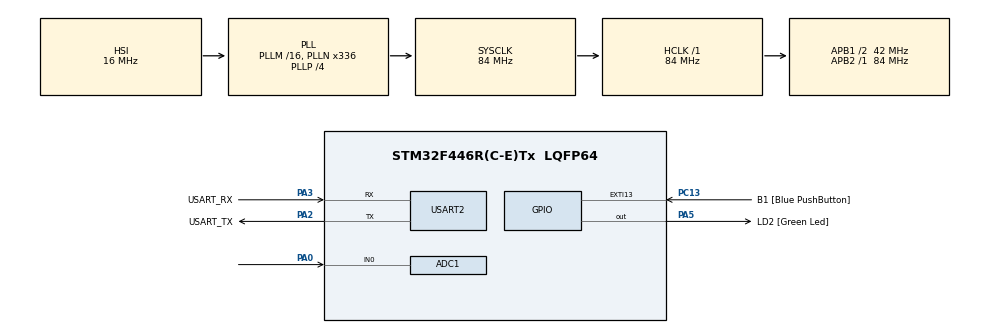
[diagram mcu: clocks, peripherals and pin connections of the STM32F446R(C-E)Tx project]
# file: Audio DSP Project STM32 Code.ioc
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ADC1.Channel-0\#ChannelRegularConversion=ADC_CHANNEL_0
ADC1.ContinuousConvMode=ENABLE
ADC1.DMAContinuousRequests=ENABLE
ADC1.ExternalTrigConv=ADC_EXTERNALTRIGCONV_T2_TRGO
ADC1.NbrOfConversionFlag=1
ADC1.Rank-0\#ChannelRegularConversion=1
ADC1.SamplingTime-0\#ChannelRegularConversion=ADC_SAMPLETIME_3CYCLES
ADC1.master=1
Dma.ADC1.0.Direction=DMA_PERIPH_TO_MEMORY
Dma.ADC1.0.FIFOMode=DMA_FIFOMODE_DISABLE
Dma.ADC1.0.Instance=DMA2_Stream0
Dma.ADC1.0.MemDataAlignment=DMA_MDATAALIGN_HALFWORD
Dma.ADC1.0.MemInc=DMA_MINC_ENABLE
Dma.ADC1.0.Mode=DMA_CIRCULAR
Dma.ADC1.0.PeriphDataAlignment=DMA_PDATAALIGN_HALFWORD
Dma.ADC1.0.PeriphInc=DMA_PINC_DISABLE
Dma.ADC1.0.Priority=DMA_PRIORITY_LOW
Dma.Request0=ADC1
Mcu.Family=STM32F4
Mcu.Name=STM32F446R(C-E)Tx
Mcu.Package=LQFP64
NVIC.DMA2_Stream0_IRQn=true\:0\:0\:false\:false\:true\:false\:true\:true
NVIC.PriorityGroup=NVIC_PRIORITYGROUP_0
PA0-WKUP.Signal=ADCx_IN0
PA13.GPIO_Label=TMS
PA13.Mode=Serial_Wire
PA13.Signal=SYS_JTMS-SWDIO
PA14.GPIO_Label=TCK
PA14.Mode=Serial_Wire
PA14.Signal=SYS_JTCK-SWCLK
PA2.GPIO_Label=USART_TX
PA2.Mode=Asynchronous
PA2.Signal=USART2_TX
PA3.GPIO_Label=USART_RX
PA3.Mode=Asynchronous
PA3.Signal=USART2_RX
PA5.GPIO_Label=LD2 [Green Led]
PA5.Signal=GPIO_Output
PB3.GPIO_Label=SWO
PB3.Signal=SYS_JTDO-SWO
PC13.GPIO_Label=B1 [Blue PushButton]
PC13.GPIO_ModeDefaultEXTI=GPIO_MODE_IT_FALLING
PC13.Signal=GPXTI13
PC14-OSC32_IN.Mode=LSE-External-Oscillator
PC14-OSC32_IN.Signal=RCC_OSC32_IN
PC15-OSC32_OUT.Mode=LSE-External-Oscillator
PC15-OSC32_OUT.Signal=RCC_OSC32_OUT
PH0-OSC_IN.Mode=HSE-External-Oscillator
PH0-OSC_IN.Signal=RCC_OSC_IN
PH1-OSC_OUT.Mode=HSE-External-Oscillator
PH1-OSC_OUT.Signal=RCC_OSC_OUT
ProjectManager.HeapSize=0x200
ProjectManager.StackSize=0x400
ProjectManager.TargetToolchain=EWARM V8.50
RCC.48MHZClocksFreq_Value=84000000
RCC.AHBFreq_Value=84000000
RCC.APB1CLKDivider=RCC_HCLK_DIV2
RCC.APB1Freq_Value=42000000
RCC.APB1TimFreq_Value=84000000
RCC.APB2Freq_Value=84000000
RCC.APB2TimFreq_Value=84000000
RCC.CortexFreq_Value=84000000
RCC.FLatency-AdvancedSettings=FLASH_LATENCY_2
RCC.HCLKFreq_Value=84000000
RCC.HSE_VALUE=8000000
RCC.HSI_VALUE=16000000
RCC.PLLN=336
RCC.PLLP=RCC_PLLP_DIV4
RCC.SYSCLKFreq_VALUE=84000000
RCC.SYSCLKSource=RCC_SYSCLKSOURCE_PLLCLK
RCC.USBFreq_Value=168000000
RCC.VCOOutputFreq_Value=336000000
SH.ADCx_IN0.0=ADC1_IN0,IN0
TIM2.Period=999
TIM2.Prescaler=89
TIM2.TIM_MasterOutputTrigger=TIM_TRGO_UPDATE
USART2.VirtualMode=VM_ASYNC
VP_TIM2_VS_ClockSourceINT.Mode=Internal
board=NUCLEO-F446RE

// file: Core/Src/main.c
/* USER CODE BEGIN Header */
/**
  ******************************************************************************
  * @file           : main.c
  * @brief          : Main program body
  ******************************************************************************
  * @attention
  *
  * Copyright (c) 2026 STMicroelectronics.
  * All rights reserved.
  *
  * This software is licensed under terms that can be found in the LICENSE file
  * in the root directory of this software component.
  * If no LICENSE file comes with this software, it is provided AS-IS.
  *
  ******************************************************************************
  */
/* USER CODE END Header */
#include "main.h"

/* USER CODE BEGIN Includes */
#include "arm_math.h"

/* USER CODE END Includes */

ADC_HandleTypeDef hadc1;
DMA_HandleTypeDef hdma_adc1;

TIM_HandleTypeDef htim2;

UART_HandleTypeDef huart2;

/* USER CODE BEGIN PV */
uint16_t buffer[1000];
volatile uint8_t flag = 0;
float32_t b_coeffs[] = {0.3478, 2.7820, 9.7370, 19.4740, 24.3426, 19.4740, 9.7370, 2.7820, 0.3478};
float32_t a_coeffs[] = {1.0000, 5.9081, 15.4841, 23.4718, 22.4784, 13.9116, 5.4288, 1.2204, 0.1209};
float32_t filteredBuffer[1000];
float32_t inputBuffer[1000];
float32_t stateBuffer[16];
arm_biquad_casd_df1_inst_f32 filterInstance;
/* USER CODE END PV */

void SystemClock_Config(void);
static void MX_GPIO_Init(void);
static void MX_DMA_Init(void);
static void MX_ADC1_Init(void);
static void MX_USART2_UART_Init(void);
static void MX_TIM2_Init(void);

/* USER CODE BEGIN 0 */
void HAL_ADC_ConvCpltCallback(ADC_HandleTypeDef* hadc)
{
    flag = 1;
}

/* USER CODE END 0 */

int main(void)
{

  /* USER CODE BEGIN 1 */
	SCB->CPACR |= ((3UL << 10*2)|(3UL << 11*2));

  /* USER CODE END 1 */

  /* MCU Configuration--------------------------------------------------------*/

  /* Reset of all peripherals, Initializes the Flash interface and the Systick. */
  HAL_Init();

  /* Configure the system clock */
  SystemClock_Config();

  /* Initialize all configured peripherals */
  MX_GPIO_Init();
  MX_DMA_Init();
  MX_ADC1_Init();
  MX_USART2_UART_Init();
  MX_TIM2_Init();
  /* USER CODE BEGIN 2 */
  arm_biquad_cascade_df1_init_f32(&filterInstance, 4, b_coeffs, stateBuffer);
  HAL_ADC_Start_DMA(&hadc1, (uint32_t*)buffer, 1000);
  HAL_TIM_Base_Start(&htim2);
  /* USER CODE END 2 */

  /* Infinite loop */
  /* USER CODE BEGIN WHILE */
  while (1)
  {
      if (flag == 1)
      {
          // Convert ADC samples to float
          for (int i = 0; i < 1000; i++)
          {
              inputBuffer[i] = (float32_t)buffer[i];
          }

          // Apply filter
          arm_biquad_cascade_df1_f32(&filterInstance, inputBuffer, filteredBuffer, 1000);

          // Transmit raw and filtered data
          HAL_UART_Transmit(&huart2, (uint8_t*)buffer, 2000, HAL_MAX_DELAY);
          HAL_UART_Transmit(&huart2, (uint8_t*)filteredBuffer, 4000, HAL_MAX_DELAY);

          flag = 0;
      }
    /* USER CODE END WHILE */
  }
}

void SystemClock_Config(void)
{
  RCC_OscInitTypeDef RCC_OscInitStruct = {0};
  RCC_ClkInitTypeDef RCC_ClkInitStruct = {0};

  /** Configure the main internal regulator output voltage
  */
  __HAL_RCC_PWR_CLK_ENABLE();
  __HAL_PWR_VOLTAGESCALING_CONFIG(PWR_REGULATOR_VOLTAGE_SCALE3);

  /** Initializes the RCC Oscillators according to the specified parameters
  * in the RCC_OscInitTypeDef structure.
  */
  RCC_OscInitStruct.OscillatorType = RCC_OSCILLATORTYPE_HSI;
  RCC_OscInitStruct.HSIState = RCC_HSI_ON;
  RCC_OscInitStruct.HSICalibrationValue = RCC_HSICALIBRATION_DEFAULT;
  RCC_OscInitStruct.PLL.PLLState = RCC_PLL_ON;
  RCC_OscInitStruct.PLL.PLLSource = RCC_PLLSOURCE_HSI;
  RCC_OscInitStruct.PLL.PLLM = 16;
  RCC_OscInitStruct.PLL.PLLN = 336;
  RCC_OscInitStruct.PLL.PLLP = RCC_PLLP_DIV4;
  RCC_OscInitStruct.PLL.PLLQ = 2;
  RCC_OscInitStruct.PLL.PLLR = 2;
  if (HAL_RCC_OscConfig(&RCC_OscInitStruct) != HAL_OK)
  {
    Error_Handler();
  }

  /** Initializes the CPU, AHB and APB buses clocks
  */
  RCC_ClkInitStruct.ClockType = RCC_CLOCKTYPE_HCLK|RCC_CLOCKTYPE_SYSCLK
                              |RCC_CLOCKTYPE_PCLK1|RCC_CLOCKTYPE_PCLK2;
  RCC_ClkInitStruct.SYSCLKSource = RCC_SYSCLKSOURCE_PLLCLK;
  RCC_ClkInitStruct.AHBCLKDivider = RCC_SYSCLK_DIV1;
  RCC_ClkInitStruct.APB1CLKDivider = RCC_HCLK_DIV2;
  RCC_ClkInitStruct.APB2CLKDivider = RCC_HCLK_DIV1;

  if (HAL_RCC_ClockConfig(&RCC_ClkInitStruct, FLASH_LATENCY_2) != HAL_OK)
  {
    Error_Handler();
  }
}

static void MX_ADC1_Init(void)
{

  ADC_ChannelConfTypeDef sConfig = {0};

  /** Configure the global features of the ADC (Clock, Resolution, Data Alignment and number of conversion)
  */
  hadc1.Instance = ADC1;
  hadc1.Init.ClockPrescaler = ADC_CLOCK_SYNC_PCLK_DIV4;
  hadc1.Init.Resolution = ADC_RESOLUTION_12B;
  hadc1.Init.ScanConvMode = DISABLE;
  hadc1.Init.ContinuousConvMode = ENABLE;
  hadc1.Init.DiscontinuousConvMode = DISABLE;
  hadc1.Init.ExternalTrigConvEdge = ADC_EXTERNALTRIGCONVEDGE_RISING;
  hadc1.Init.ExternalTrigConv = ADC_EXTERNALTRIGCONV_T2_TRGO;
  hadc1.Init.DataAlign = ADC_DATAALIGN_RIGHT;
  hadc1.Init.NbrOfConversion = 1;
  hadc1.Init.DMAContinuousRequests = ENABLE;
  hadc1.Init.EOCSelection = ADC_EOC_SINGLE_CONV;
  if (HAL_ADC_Init(&hadc1) != HAL_OK)
  {
    Error_Handler();
  }

  /** Configure for the selected ADC regular channel its corresponding rank in the sequencer and its sample time.
  */
  sConfig.Channel = ADC_CHANNEL_0;
  sConfig.Rank = 1;
  sConfig.SamplingTime = ADC_SAMPLETIME_3CYCLES;
  if (HAL_ADC_ConfigChannel(&hadc1, &sConfig) != HAL_OK)
  {
    Error_Handler();
  }

}

static void MX_TIM2_Init(void)
{

  TIM_ClockConfigTypeDef sClockSourceConfig = {0};
  TIM_MasterConfigTypeDef sMasterConfig = {0};

  htim2.Instance = TIM2;
  htim2.Init.Prescaler = 89;
  htim2.Init.CounterMode = TIM_COUNTERMODE_UP;
  htim2.Init.Period = 999;
  htim2.Init.ClockDivision = TIM_CLOCKDIVISION_DIV1;
  htim2.Init.AutoReloadPreload = TIM_AUTORELOAD_PRELOAD_DISABLE;
  if (HAL_TIM_Base_Init(&htim2) != HAL_OK)
  {
    Error_Handler();
  }
  sClockSourceConfig.ClockSource = TIM_CLOCKSOURCE_INTERNAL;
  if (HAL_TIM_ConfigClockSource(&htim2, &sClockSourceConfig) != HAL_OK)
  {
    Error_Handler();
  }
  sMasterConfig.MasterOutputTrigger = TIM_TRGO_UPDATE;
  sMasterConfig.MasterSlaveMode = TIM_MASTERSLAVEMODE_DISABLE;
  if (HAL_TIMEx_MasterConfigSynchronization(&htim2, &sMasterConfig) != HAL_OK)
  {
    Error_Handler();
  }

}

static void MX_USART2_UART_Init(void)
{

  huart2.Instance = USART2;
  huart2.Init.BaudRate = 115200;
  huart2.Init.WordLength = UART_WORDLENGTH_8B;
  huart2.Init.StopBits = UART_STOPBITS_1;
  huart2.Init.Parity = UART_PARITY_NONE;
  huart2.Init.Mode = UART_MODE_TX_RX;
  huart2.Init.HwFlowCtl = UART_HWCONTROL_NONE;
  huart2.Init.OverSampling = UART_OVERSAMPLING_16;
  if (HAL_UART_Init(&huart2) != HAL_OK)
  {
    Error_Handler();
  }

}

static void MX_DMA_Init(void)
{

  /* DMA controller clock enable */
  __HAL_RCC_DMA2_CLK_ENABLE();

  /* DMA interrupt init */
  /* DMA2_Stream0_IRQn interrupt configuration */
  HAL_NVIC_SetPriority(DMA2_Stream0_IRQn, 0, 0);
  HAL_NVIC_EnableIRQ(DMA2_Stream0_IRQn);

}

static void MX_GPIO_Init(void)
{
  GPIO_InitTypeDef GPIO_InitStruct = {0};

  /* GPIO Ports Clock Enable */
  __HAL_RCC_GPIOC_CLK_ENABLE();
  __HAL_RCC_GPIOH_CLK_ENABLE();
  __HAL_RCC_GPIOA_CLK_ENABLE();
  __HAL_RCC_GPIOB_CLK_ENABLE();

  /*Configure GPIO pin Output Level */
  HAL_GPIO_WritePin(LD2_GPIO_Port, LD2_Pin, GPIO_PIN_RESET);

  /*Configure GPIO pin : B1_Pin */
  GPIO_InitStruct.Pin = B1_Pin;
  GPIO_InitStruct.Mode = GPIO_MODE_IT_FALLING;
  GPIO_InitStruct.Pull = GPIO_NOPULL;
  HAL_GPIO_Init(B1_GPIO_Port, &GPIO_InitStruct);

  /*Configure GPIO pin : LD2_Pin */
  GPIO_InitStruct.Pin = LD2_Pin;
  GPIO_InitStruct.Mode = GPIO_MODE_OUTPUT_PP;
  GPIO_InitStruct.Pull = GPIO_NOPULL;
  GPIO_InitStruct.Speed = GPIO_SPEED_FREQ_LOW;
  HAL_GPIO_Init(LD2_GPIO_Port, &GPIO_InitStruct);

}

void Error_Handler(void)
{
  __disable_irq();
  while (1)
  {
  }
}
